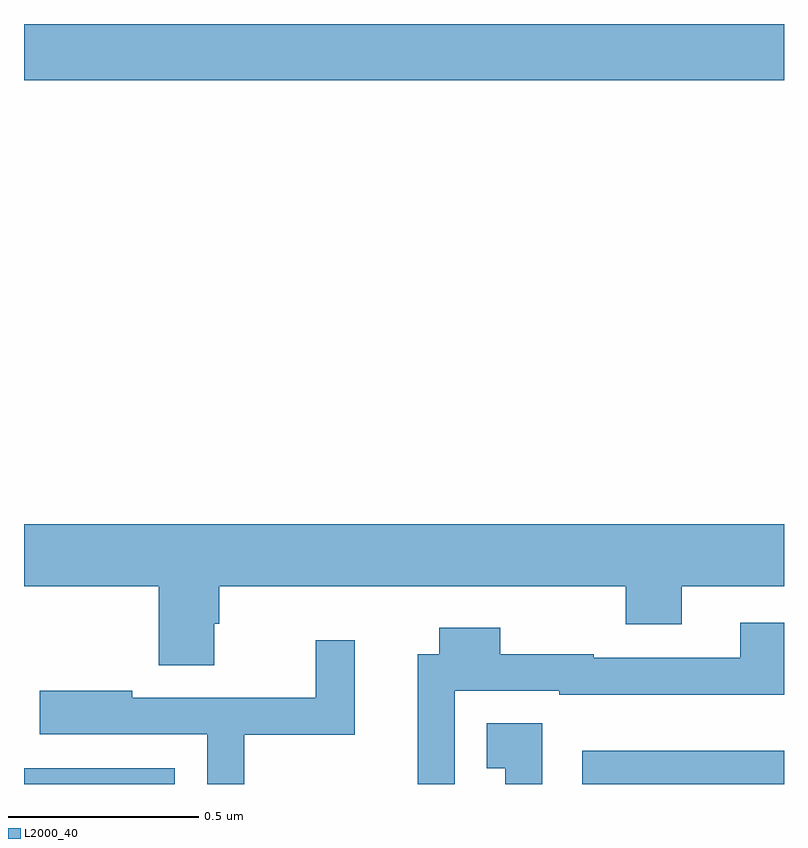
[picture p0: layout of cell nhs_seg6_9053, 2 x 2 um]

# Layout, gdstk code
import gdstk
lib = gdstk.Library(unit=1e-6, precision=1e-09)
def R(c, l, rs):  # rectangles x0, y0, x1, y1
    for r in rs: c.add(gdstk.rectangle(r[:2], r[2:], *l))
def P(c, l, *ps):  # polygons
    for p in ps: c.add(gdstk.Polygon(p, *l))
L2000_40 = (2000, 40)

nhs_seg6_9053 = lib.new_cell('nhs_seg6_9053')
R(nhs_seg6_9053, L2000_40, [(229,929.5,229.397,929.541), (230.469,929.5,231,929.587), (229,931.352,231,931.5)])
P(nhs_seg6_9053, L2000_40, [(229.501,929.922),(229.514,929.922),(229.514,930.02),(230.584,930.02),(230.584,929.921),(230.731,929.921),(230.731,930.02),(231,930.02),(231,930.184),(229,930.184),(229,930.02),(229.354,930.02),(229.354,929.812),(229.501,929.812)],
  [(230.133,929.745),(230.409,929.745),(230.409,929.735),(231,929.735),(231,929.925),(230.885,929.925),(230.885,929.832),(230.499,929.832),(230.499,929.842),(230.253,929.842),(230.253,929.911),(230.093,929.911),(230.093,929.841),(230.036,929.841),(230.036,929.5),(230.133,929.5)],
  [(229.579,929.63),(229.87,929.63),(229.87,929.878),(229.768,929.878),(229.768,929.727),(229.285,929.727),(229.285,929.746),(229.041,929.746),(229.041,929.631),(229.482,929.631),(229.482,929.5),(229.579,929.5)],
  [(230.364,929.66),(230.218,929.66),(230.218,929.542),(230.267,929.542),(230.267,929.5),(230.364,929.5)])

lib.write_gds('nhs_seg6_9053.gds')
